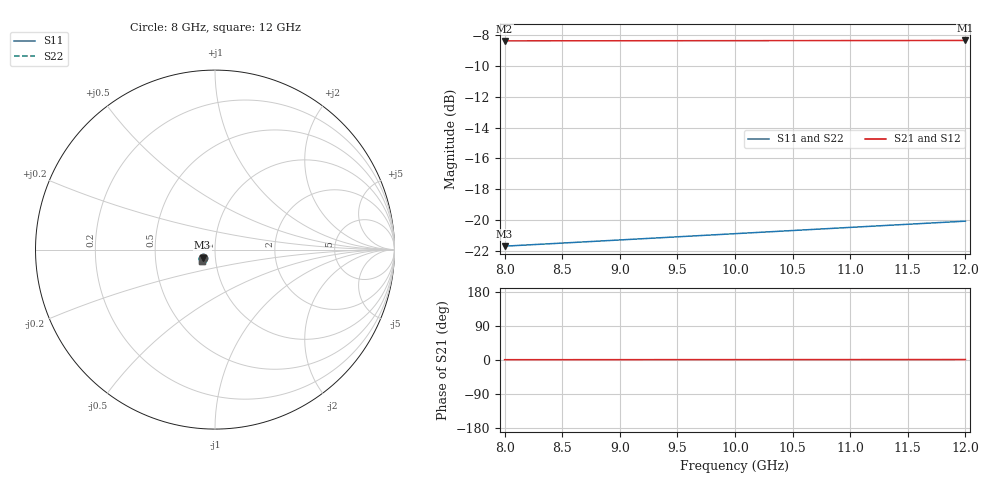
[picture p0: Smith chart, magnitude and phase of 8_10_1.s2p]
! Created Mon Oct 19 10:41:28 2020
# ghz S db R 50
! 2 Port Network Data from SP1.SP block
! freq  dbS11  angS11  dbS21  angS21  dbS12  angS12  dbS22  angS22
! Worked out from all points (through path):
!   9 points, 8 GHz to 12 GHz, reference 50 ohm
!   highest |S21| = -8.34 dB at 12 GHz (marker M1); lowest = -8.4 dB at 8 GHz (marker M2)
!   lowest |S11| = -21.7 dB at 8 GHz (marker M3), VSWR 1.18, Z = 43.4 - j3.89 ohm
!   |S11| at or under -10 dB: start of sweep to end of sweep
!   |S22| runs from -21.7 to -20.1 dB; largest |S21 - S12| = 4.4e-16
8  -21.70 -147.2  -8.36 0.8  -8.36 0.8  -21.70 -147.2
8.5  -21.50 -145.8  -8.36 0.9  -8.36 0.9  -21.50 -145.8
9  -21.29 -144.6  -8.36 0.9  -8.36 0.9  -21.29 -144.6
9.5  -21.09 -143.4  -8.35 1.0  -8.35 1.0  -21.09 -143.4
10  -20.89 -142.2  -8.35 1.0  -8.35 1.0  -20.89 -142.2
10.5  -20.68 -141.2  -8.35 1.1  -8.35 1.1  -20.68 -141.2
11  -20.48 -140.2  -8.34 1.1  -8.34 1.1  -20.48 -140.2
11.5  -20.28 -139.2  -8.34 1.2  -8.34 1.2  -20.28 -139.2
12  -20.07 -138.4  -8.34 1.2  -8.34 1.2  -20.07 -138.4
